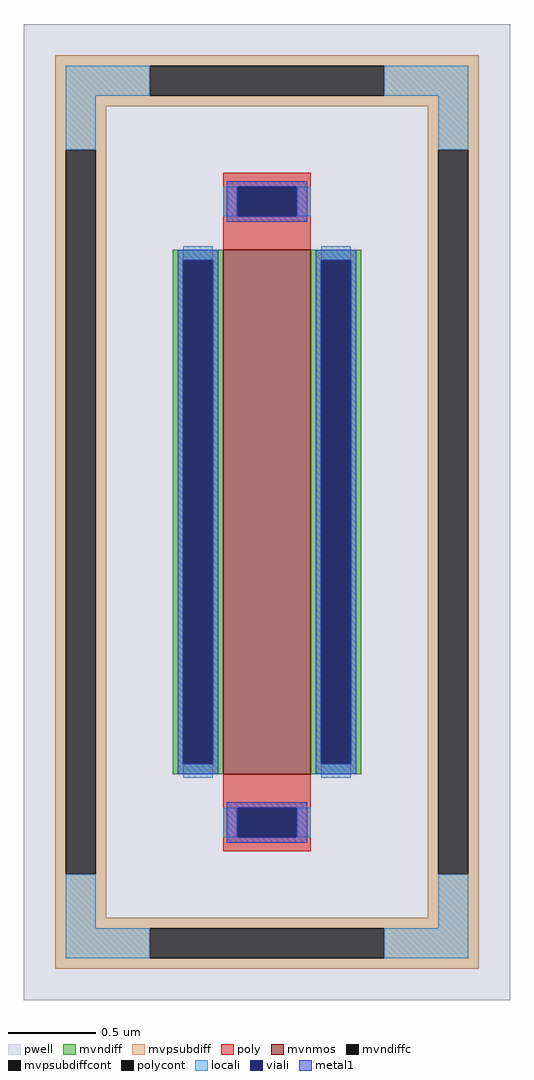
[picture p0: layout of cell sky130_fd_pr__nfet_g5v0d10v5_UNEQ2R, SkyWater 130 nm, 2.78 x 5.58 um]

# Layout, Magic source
magic
tech sky130A
<< pwell >>
rect -139 -279 139 279
<< mvnmos >>
rect -25 -150 25 150
<< mvndiff >>
rect -54 144 -25 150
rect -54 -144 -48 144
rect -31 -144 -25 144
rect -54 -150 -25 -144
rect 25 144 54 150
rect 25 -144 31 144
rect 48 -144 54 144
rect 25 -150 54 -144
<< mvndiffc >>
rect -48 -144 -31 144
rect 31 -144 48 144
<< mvpsubdiff >>
rect -121 255 121 261
rect -121 238 -67 255
rect 67 238 121 255
rect -121 232 121 238
rect -121 207 -92 232
rect -121 -207 -115 207
rect -98 -207 -92 207
rect 92 207 121 232
rect -121 -232 -92 -207
rect 92 -207 98 207
rect 115 -207 121 207
rect 92 -232 121 -207
rect -121 -238 121 -232
rect -121 -255 -67 -238
rect 67 -255 121 -238
rect -121 -261 121 -255
<< mvpsubdiffcont >>
rect -67 238 67 255
rect -115 -207 -98 207
rect 98 -207 115 207
rect -67 -255 67 -238
<< poly >>
rect -25 186 25 194
rect -25 169 -17 186
rect 17 169 25 186
rect -25 150 25 169
rect -25 -169 25 -150
rect -25 -186 -17 -169
rect 17 -186 25 -169
rect -25 -194 25 -186
<< polycont >>
rect -17 169 17 186
rect -17 -186 17 -169
<< locali >>
rect -115 238 -67 255
rect 67 238 115 255
rect -115 207 -98 238
rect 98 207 115 238
rect -25 169 -17 186
rect 17 169 25 186
rect -48 144 -31 152
rect -48 -152 -31 -144
rect 31 144 48 152
rect 31 -152 48 -144
rect -25 -186 -17 -169
rect 17 -186 25 -169
rect -115 -238 -98 -207
rect 98 -238 115 -207
rect -115 -255 -67 -238
rect 67 -255 115 -238
<< viali >>
rect -17 169 17 186
rect -48 -144 -31 144
rect 31 -144 48 144
rect -17 -186 17 -169
<< metal1 >>
rect -23 186 23 189
rect -23 169 -17 186
rect 17 169 23 186
rect -23 166 23 169
rect -51 144 -28 150
rect -51 -144 -48 144
rect -31 -144 -28 144
rect -51 -150 -28 -144
rect 28 144 51 150
rect 28 -144 31 144
rect 48 -144 51 144
rect 28 -150 51 -144
rect -23 -169 23 -166
rect -23 -186 -17 -169
rect 17 -186 23 -169
rect -23 -189 23 -186
<< properties >>
string FIXED_BBOX -106 -246 106 246
string gencell sky130_fd_pr__nfet_g5v0d10v5
string library sky130
string parameters w 3.0 l 0.5 m 1 nf 1 diffcov 100 polycov 100 guard 1 glc 1 grc 1 gtc 1 gbc 1 tbcov 100 rlcov 100 topc 1 botc 1 poverlap 0 doverlap 1 lmin 0.50 wmin 0.42 compatible {sky130_fd_pr__nfet_01v8 sky130_fd_pr__nfet_01v8_lvt  sky130_fd_bs_flash__special_sonosfet_star  sky130_fd_pr__nfet_g5v0d10v5 sky130_fd_pr__nfet_05v0_nvt  sky130_fd_pr__nfet_03v3_nvt} full_metal 1 viasrc 100 viadrn 100 viagate 100 viagb 0 viagr 0 viagl 0 viagt 0
<< end >>
